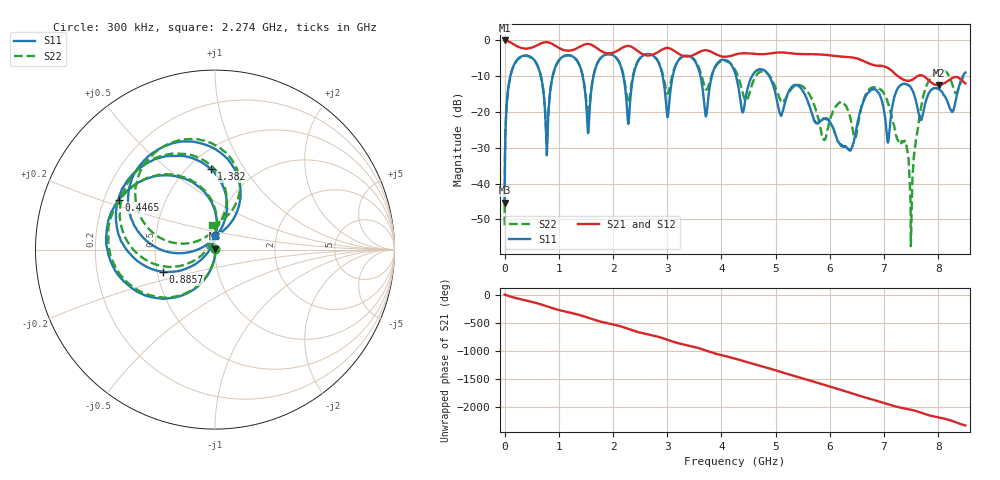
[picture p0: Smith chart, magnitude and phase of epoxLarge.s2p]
# Hz S RI R 50
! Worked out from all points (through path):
!   1201 points, 300 kHz to 8.5 GHz, reference 50 ohm
!   highest |S21| = -0.02 dB at 7.383 MHz (marker M1); lowest = -12.5 dB at 8.011 GHz (marker M2)
!   group delay of S21, straight-line fit = 762 ps
!   lowest |S11| = -45.4 dB at 300 kHz (marker M3), VSWR 1.01, Z = 49.9 + j0.527 ohm
!   |S11| at or under -10 dB: 669.7 MHz to 886.1 MHz (216.4 MHz wide, 27.8 % of centre); 4.27 GHz to 4.563 GHz (293.3 MHz wide, 6.64 % of centre); 4.881 GHz to 8.453 GHz (3.572 GHz wide, 53.6 % of centre)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
!   |S22| runs from -57.5 to -3.8 dB; largest |S21 - S12| = 0.0088
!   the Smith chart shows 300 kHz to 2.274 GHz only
!   S11 on the Smith chart (normalised r, x): 300 kHz: 1.00, +0.01; 446.5 MHz: 0.26, +0.23; 885.7 MHz: 0.54, -0.15; 1.382 GHz: 0.64, +0.72; 2.274 GHz: 0.99, +0.15
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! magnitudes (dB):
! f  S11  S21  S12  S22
! 300 kHz  -45.4  0.0  -0.1  -51.7
! 7.383 MHz  -32.0  0.0  0.0  -32.0
! 106.5 MHz  -10.0  -0.6  -0.6  -10.1
! 446.5 MHz  -4.4  -2.2  -2.2  -4.5
! 772.4 MHz  -30.2  -0.5  -0.5  -27.8
! 885.7 MHz  -10.0  -1.0  -1.0  -10.1
! 1.382 GHz  -6.9  -1.8  -1.8  -6.9
! 1.417 GHz  -8.5  -1.5  -1.5  -8.4
! 1.544 GHz  -25.9  -1.0  -1.0  -21.1
! 2.026 GHz  -4.4  -3.3  -3.3  -4.4
! 2.274 GHz  -22.6  -1.5  -1.6  -17.4
! 2.841 GHz  -6.2  -3.2  -3.2  -6.0
! 3.004 GHz  -21.5  -2.1  -2.1  -14.9
! 3.287 GHz  -4.5  -4.3  -4.3  -4.5
! 3.712 GHz  -21.3  -2.7  -2.7  -13.7
! 4.25 GHz  -9.1  -4.0  -4.0  -8.2
! 5.667 GHz  -20.4  -3.9  -3.9  -16.3
! 7.09 GHz  -26.5  -7.9  -7.9  -18.3
! 7.501 GHz  -13.4  -11.1  -11.1  -52.5
! 7.721 GHz  -20.3  -9.9  -9.9  -15.7
! 8.011 GHz  -13.6  -12.5  -12.5  -8.5
! 8.5 GHz  -9.0  -12.0  -12.0  -9.5
